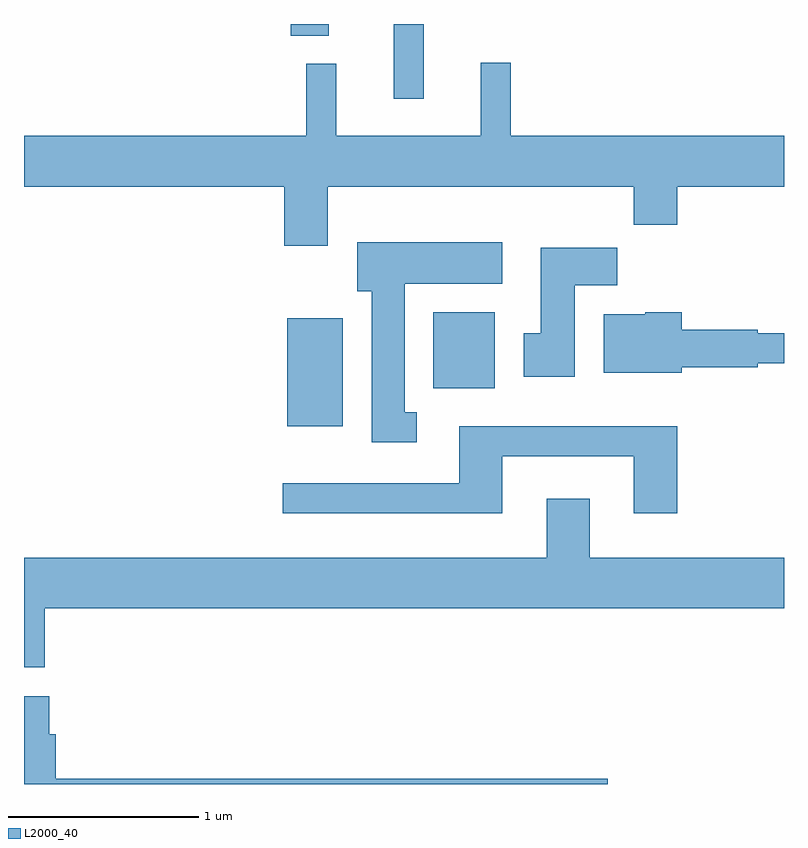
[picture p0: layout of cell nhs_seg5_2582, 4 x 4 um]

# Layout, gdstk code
import gdstk
lib = gdstk.Library(unit=1e-6, precision=1e-09)
def R(c, l, rs):  # rectangles x0, y0, x1, y1
    for r in rs: c.add(gdstk.rectangle(r[:2], r[2:], *l))
def P(c, l, *ps):  # polygons
    for p in ps: c.add(gdstk.Polygon(p, *l))
L2000_40 = (2000, 40)

nhs_seg5_2582 = lib.new_cell('nhs_seg5_2582')
R(nhs_seg5_2582, L2000_40, [(262.996,1479.956,263.289,1480.524), (263.766,1480.156,264.089,1480.554), (263.556,1481.678,263.714,1482.072), (263.016,1482.011,263.214,1482.072)])
P(nhs_seg5_2582, L2000_40, [(263.209,1481.216),(264.821,1481.216),(264.821,1481.016),(265.049,1481.016),(265.049,1481.216),(265.611,1481.216),(265.611,1481.484),(264.174,1481.484),(264.174,1481.868),(264.016,1481.868),(264.016,1481.484),(263.254,1481.484),(263.254,1481.863),(263.096,1481.863),(263.096,1481.484),(261.611,1481.484),(261.611,1481.216),(262.981,1481.216),(262.981,1480.906),(263.209,1480.906)],
  [(263.678,1480.029),(263.614,1480.029),(263.614,1480.706),(264.129,1480.706),(264.129,1480.924),(263.366,1480.924),(263.366,1480.666),(263.441,1480.666),(263.441,1479.871),(263.678,1479.871)],
  [(264.509,1480.696),(264.734,1480.696),(264.734,1480.894),(264.331,1480.894),(264.331,1480.444),(264.241,1480.444),(264.241,1480.216),(264.509,1480.216)],
  [(265.074,1480.266),(265.474,1480.266),(265.474,1480.286),(265.611,1480.286),(265.611,1480.444),(265.474,1480.444),(265.474,1480.464),(265.074,1480.464),(265.074,1480.554),(264.88,1480.554),(264.88,1480.544),(264.661,1480.544),(264.661,1480.236),(265.074,1480.236)],
  [(264.129,1479.796),(264.821,1479.796),(264.821,1479.496),(265.049,1479.496),(265.049,1479.954),(263.901,1479.954),(263.901,1479.654),(262.973,1479.654),(262.973,1479.496),(264.129,1479.496)],
  [(261.719,1478.996),(265.611,1478.996),(265.611,1479.264),(264.589,1479.264),(264.589,1479.574),(264.361,1479.574),(264.361,1479.264),(261.611,1479.264),(261.611,1478.686),(261.719,1478.686)],
  [(264.684,1478.099),(261.779,1478.099),(261.779,1478.334),(261.744,1478.334),(261.744,1478.534),(261.611,1478.534),(261.611,1478.072),(264.684,1478.072)])

lib.write_gds('nhs_seg5_2582.gds')
